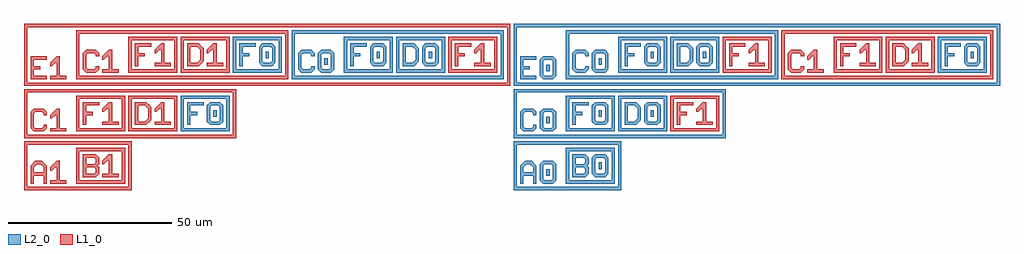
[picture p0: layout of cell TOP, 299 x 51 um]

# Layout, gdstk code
import gdstk
lib = gdstk.Library(unit=1e-6, precision=1e-09)
def R(c, l, rs):  # rectangles x0, y0, x1, y1
    for r in rs: c.add(gdstk.rectangle(r[:2], r[2:], *l))
def P(c, l, *ps):  # polygons
    for p in ps: c.add(gdstk.Polygon(p, *l))
L1_0 = (1, 0)
L2_0 = (2, 0)

text_45 = lib.new_cell('TEXT$45')
P(text_45, L1_0, [(0,0),(0,5.5),(1.5,7),(3.5,7),(4.5,6),(2,6),(1,5),(1,3.5),(4,3.5),(4,5),(3,6),(4.5,6),(5,5.5),(5,0),(4,0),(4,2.5),(1,2.5),(1,0)],
  [(6,0),(6,1),(8,1),(8,5),(7.5,5),(6.5,4),(6,4),(6,5),(8,7),(9,7),(9,1),(11,1),(11,0)])

text_25 = lib.new_cell('TEXT$25')
P(text_25, L1_0, [(0,0),(0,7),(4,7),(5,6),(1,6),(1,4),(3.5,4),(4,4.5),(4,5.5),(3.5,6),(5,6),(5,4),(4.5,3.5),(5,3),(1,3),(1,1),(3.5,1),(4,1.5),(4,2.5),(3.5,3),(5,3),(5,1),(4,0)],
  [(6,0),(6,1),(8,1),(8,5),(7.5,5),(6.5,4),(6,4),(6,5),(8,7),(9,7),(9,1),(11,1),(11,0)])

c_b1 = lib.new_cell('B1')
c_b1.add(gdstk.FlexPath([(0.5,0.5),(0.5,10.5),(14.5,10.5),(14.5,0.5),(0.5,0.5)], 1, ends="extended", simple_path=True, layer=1, datatype=0))  # L1_0
c_b1.add(gdstk.Reference(text_25, (2,2)))

c_a1 = lib.new_cell('A1')
c_a1.add(gdstk.FlexPath([(0.5,0.5),(0.5,14.5),(32.5,14.5),(32.5,0.5),(0.5,0.5)], 1, ends="extended", simple_path=True, layer=1, datatype=0))  # L1_0
c_a1.add(gdstk.Reference(text_45, (2,2)))
c_a1.add(gdstk.Reference(c_b1, (16,2)))

text_47 = lib.new_cell('TEXT$47')
P(text_47, L1_0, [(1,0),(0,1),(0,6),(1,7),(4,7),(5,6),(5,5),(4,5),(4,5.5),(3.5,6),(1.5,6),(1,5.5),(1,1.5),(1.5,1),(3.5,1),(4,1.5),(4,2),(5,2),(5,1),(4,0)],
  [(6,0),(6,1),(8,1),(8,5),(7.5,5),(6.5,4),(6,4),(6,5),(8,7),(9,7),(9,1),(11,1),(11,0)])

text_48 = lib.new_cell('TEXT$48')
P(text_48, L1_0, [(0,0),(0,7),(5,7),(5,6),(1,6),(1,4),(3,4),(3,3),(1,3),(1,0)],
  [(6,0),(6,1),(8,1),(8,5),(7.5,5),(6.5,4),(6,4),(6,5),(8,7),(9,7),(9,1),(11,1),(11,0)])

f1_5 = lib.new_cell('F1$5')
f1_5.add(gdstk.FlexPath([(0.5,0.5),(0.5,10.5),(14.5,10.5),(14.5,0.5),(0.5,0.5)], 1, ends="extended", simple_path=True, layer=1, datatype=0))  # L1_0
f1_5.add(gdstk.Reference(text_48, (2,2)))

text_52 = lib.new_cell('TEXT$52')
P(text_52, L1_0, [(0,0),(0,7),(3.5,7),(4.5,6),(1,6),(1,1),(3,1),(4,2),(4,5),(3,6),(4.5,6),(5,5.5),(5,1.5),(3.5,0)],
  [(6,0),(6,1),(8,1),(8,5),(7.5,5),(6.5,4),(6,4),(6,5),(8,7),(9,7),(9,1),(11,1),(11,0)])

d1_2 = lib.new_cell('D1$2')
d1_2.add(gdstk.FlexPath([(0.5,0.5),(0.5,10.5),(14.5,10.5),(14.5,0.5),(0.5,0.5)], 1, ends="extended", simple_path=True, layer=1, datatype=0))  # L1_0
d1_2.add(gdstk.Reference(text_52, (2,2)))

text = lib.new_cell('TEXT')
R(text, L2_0, [(8,2.5,9,4.5)])
P(text, L2_0, [(0,0),(0,7),(5,7),(5,6),(1,6),(1,4),(3,4),(3,3),(1,3),(1,0)],
  [(7,0),(6,1),(6,6),(7,7),(10,7),(11,6),(7.5,6),(7,5.5),(7,1.5),(7.5,1),(9.5,1),(10,1.5),(10,5.5),(9.5,6),(11,6),(11,1),(10,0)])

f0_3 = lib.new_cell('F0$3')
f0_3.add(gdstk.FlexPath([(0.5,0.5),(0.5,10.5),(14.5,10.5),(14.5,0.5),(0.5,0.5)], 1, ends="extended", simple_path=True, layer=2, datatype=0))  # L2_0
f0_3.add(gdstk.Reference(text, (2,2)))

c1_1_1 = lib.new_cell('C1$1$1')
c1_1_1.add(gdstk.FlexPath([(0.5,0.5),(0.5,14.5),(64.5,14.5),(64.5,0.5),(0.5,0.5)], 1, ends="extended", simple_path=True, layer=1, datatype=0))  # L1_0
c1_1_1.add(gdstk.Reference(text_47, (2,2)))
c1_1_1.add(gdstk.Reference(f1_5, (16,2)))
c1_1_1.add(gdstk.Reference(d1_2, (32,2)))
c1_1_1.add(gdstk.Reference(f0_3, (48,2)))

text_46 = lib.new_cell('TEXT$46')
P(text_46, L1_0, [(0,0),(0,7),(5,7),(5,6),(1,6),(1,4),(3,4),(3,3),(1,3),(1,1),(5,1),(5,0)],
  [(6,0),(6,1),(8,1),(8,5),(7.5,5),(6.5,4),(6,4),(6,5),(8,7),(9,7),(9,1),(11,1),(11,0)])

c_f0 = lib.new_cell('F0')
c_f0.add(gdstk.FlexPath([(0.5,0.5),(0.5,10.5),(14.5,10.5),(14.5,0.5),(0.5,0.5)], 1, ends="extended", simple_path=True, layer=2, datatype=0))  # L2_0
c_f0.add(gdstk.Reference(text, (2,2)))

c1_1 = lib.new_cell('C1$1')
c1_1.add(gdstk.FlexPath([(0.5,0.5),(0.5,14.5),(64.5,14.5),(64.5,0.5),(0.5,0.5)], 1, ends="extended", simple_path=True, layer=1, datatype=0))  # L1_0
c1_1.add(gdstk.Reference(text_47, (2,2)))
c1_1.add(gdstk.Reference(f1_5, (16,2)))
c1_1.add(gdstk.Reference(d1_2, (32,2)))
c1_1.add(gdstk.Reference(c_f0, (48,2)))

text_1 = lib.new_cell('TEXT$1')
R(text_1, L2_0, [(8,2.5,9,4.5)])
P(text_1, L2_0, [(1,0),(0,1),(0,6),(1,7),(4,7),(5,6),(5,5),(4,5),(4,5.5),(3.5,6),(1.5,6),(1,5.5),(1,1.5),(1.5,1),(3.5,1),(4,1.5),(4,2),(5,2),(5,1),(4,0)],
  [(7,0),(6,1),(6,6),(7,7),(10,7),(11,6),(7.5,6),(7,5.5),(7,1.5),(7.5,1),(9.5,1),(10,1.5),(10,5.5),(9.5,6),(11,6),(11,1),(10,0)])

f0_6 = lib.new_cell('F0$6')
f0_6.add(gdstk.FlexPath([(0.5,0.5),(0.5,10.5),(14.5,10.5),(14.5,0.5),(0.5,0.5)], 1, ends="extended", simple_path=True, layer=2, datatype=0))  # L2_0
f0_6.add(gdstk.Reference(text, (2,2)))

text_2 = lib.new_cell('TEXT$2')
R(text_2, L2_0, [(8,2.5,9,4.5)])
P(text_2, L2_0, [(0,0),(0,7),(3.5,7),(4.5,6),(1,6),(1,1),(3,1),(4,2),(4,5),(3,6),(4.5,6),(5,5.5),(5,1.5),(3.5,0)],
  [(7,0),(6,1),(6,6),(7,7),(10,7),(11,6),(7.5,6),(7,5.5),(7,1.5),(7.5,1),(9.5,1),(10,1.5),(10,5.5),(9.5,6),(11,6),(11,1),(10,0)])

d0_4 = lib.new_cell('D0$4')
d0_4.add(gdstk.FlexPath([(0.5,0.5),(0.5,10.5),(14.5,10.5),(14.5,0.5),(0.5,0.5)], 1, ends="extended", simple_path=True, layer=2, datatype=0))  # L2_0
d0_4.add(gdstk.Reference(text_2, (2,2)))

text_4 = lib.new_cell('TEXT$4')
P(text_4, L1_0, [(0,0),(0,7),(5,7),(5,6),(1,6),(1,4),(3,4),(3,3),(1,3),(1,0)],
  [(6,0),(6,1),(8,1),(8,5),(7.5,5),(6.5,4),(6,4),(6,5),(8,7),(9,7),(9,1),(11,1),(11,0)])

c_f1 = lib.new_cell('F1')
c_f1.add(gdstk.FlexPath([(0.5,0.5),(0.5,10.5),(14.5,10.5),(14.5,0.5),(0.5,0.5)], 1, ends="extended", simple_path=True, layer=1, datatype=0))  # L1_0
c_f1.add(gdstk.Reference(text_4, (2,2)))

c_c0 = lib.new_cell('C0')
c_c0.add(gdstk.FlexPath([(0.5,0.5),(0.5,14.5),(64.5,14.5),(64.5,0.5),(0.5,0.5)], 1, ends="extended", simple_path=True, layer=2, datatype=0))  # L2_0
c_c0.add(gdstk.Reference(text_1, (2,2)))
c_c0.add(gdstk.Reference(f0_6, (16,2)))
c_c0.add(gdstk.Reference(d0_4, (32,2)))
c_c0.add(gdstk.Reference(c_f1, (48,2)))

c_e1 = lib.new_cell('E1')
c_e1.add(gdstk.FlexPath([(0.5,0.5),(0.5,18.5),(148.5,18.5),(148.5,0.5),(0.5,0.5)], 1, ends="extended", simple_path=True, layer=1, datatype=0))  # L1_0
c_e1.add(gdstk.Reference(text_46, (2,2)))
c_e1.add(gdstk.Reference(c1_1, (16,2)))
c_e1.add(gdstk.Reference(c_c0, (82,2)))

text_6 = lib.new_cell('TEXT$6')
R(text_6, L2_0, [(8,2.5,9,4.5)])
P(text_6, L2_0, [(0,0),(0,5.5),(1.5,7),(3.5,7),(4.5,6),(2,6),(1,5),(1,3.5),(4,3.5),(4,5),(3,6),(4.5,6),(5,5.5),(5,0),(4,0),(4,2.5),(1,2.5),(1,0)],
  [(7,0),(6,1),(6,6),(7,7),(10,7),(11,6),(7.5,6),(7,5.5),(7,1.5),(7.5,1),(9.5,1),(10,1.5),(10,5.5),(9.5,6),(11,6),(11,1),(10,0)])

text_5 = lib.new_cell('TEXT$5')
R(text_5, L2_0, [(8,2.5,9,4.5)])
P(text_5, L2_0, [(0,0),(0,7),(4,7),(5,6),(1,6),(1,4),(3.5,4),(4,4.5),(4,5.5),(3.5,6),(5,6),(5,4),(4.5,3.5),(5,3),(1,3),(1,1),(3.5,1),(4,1.5),(4,2.5),(3.5,3),(5,3),(5,1),(4,0)],
  [(7,0),(6,1),(6,6),(7,7),(10,7),(11,6),(7.5,6),(7,5.5),(7,1.5),(7.5,1),(9.5,1),(10,1.5),(10,5.5),(9.5,6),(11,6),(11,1),(10,0)])

c_b0 = lib.new_cell('B0')
c_b0.add(gdstk.FlexPath([(0.5,0.5),(0.5,10.5),(14.5,10.5),(14.5,0.5),(0.5,0.5)], 1, ends="extended", simple_path=True, layer=2, datatype=0))  # L2_0
c_b0.add(gdstk.Reference(text_5, (2,2)))

c_a0 = lib.new_cell('A0')
c_a0.add(gdstk.FlexPath([(0.5,0.5),(0.5,14.5),(32.5,14.5),(32.5,0.5),(0.5,0.5)], 1, ends="extended", simple_path=True, layer=2, datatype=0))  # L2_0
c_a0.add(gdstk.Reference(text_6, (2,2)))
c_a0.add(gdstk.Reference(c_b0, (16,2)))

f0_7 = lib.new_cell('F0$7')
f0_7.add(gdstk.FlexPath([(0.5,0.5),(0.5,10.5),(14.5,10.5),(14.5,0.5),(0.5,0.5)], 1, ends="extended", simple_path=True, layer=2, datatype=0))  # L2_0
f0_7.add(gdstk.Reference(text, (2,2)))

d0_5 = lib.new_cell('D0$5')
d0_5.add(gdstk.FlexPath([(0.5,0.5),(0.5,10.5),(14.5,10.5),(14.5,0.5),(0.5,0.5)], 1, ends="extended", simple_path=True, layer=2, datatype=0))  # L2_0
d0_5.add(gdstk.Reference(text_2, (2,2)))

c0_1_1 = lib.new_cell('C0$1$1')
c0_1_1.add(gdstk.FlexPath([(0.5,0.5),(0.5,14.5),(64.5,14.5),(64.5,0.5),(0.5,0.5)], 1, ends="extended", simple_path=True, layer=2, datatype=0))  # L2_0
c0_1_1.add(gdstk.Reference(text_1, (2,2)))
c0_1_1.add(gdstk.Reference(f0_7, (16,2)))
c0_1_1.add(gdstk.Reference(d0_5, (32,2)))
c0_1_1.add(gdstk.Reference(c_f1, (48,2)))

text_7 = lib.new_cell('TEXT$7')
R(text_7, L2_0, [(8,2.5,9,4.5)])
P(text_7, L2_0, [(0,0),(0,7),(5,7),(5,6),(1,6),(1,4),(3,4),(3,3),(1,3),(1,1),(5,1),(5,0)],
  [(7,0),(6,1),(6,6),(7,7),(10,7),(11,6),(7.5,6),(7,5.5),(7,1.5),(7.5,1),(9.5,1),(10,1.5),(10,5.5),(9.5,6),(11,6),(11,1),(10,0)])

f0_9 = lib.new_cell('F0$9')
f0_9.add(gdstk.FlexPath([(0.5,0.5),(0.5,10.5),(14.5,10.5),(14.5,0.5),(0.5,0.5)], 1, ends="extended", simple_path=True, layer=2, datatype=0))  # L2_0
f0_9.add(gdstk.Reference(text, (2,2)))

d0_2 = lib.new_cell('D0$2')
d0_2.add(gdstk.FlexPath([(0.5,0.5),(0.5,10.5),(14.5,10.5),(14.5,0.5),(0.5,0.5)], 1, ends="extended", simple_path=True, layer=2, datatype=0))  # L2_0
d0_2.add(gdstk.Reference(text_2, (2,2)))

c0_2 = lib.new_cell('C0$2')
c0_2.add(gdstk.FlexPath([(0.5,0.5),(0.5,14.5),(64.5,14.5),(64.5,0.5),(0.5,0.5)], 1, ends="extended", simple_path=True, layer=2, datatype=0))  # L2_0
c0_2.add(gdstk.Reference(text_1, (2,2)))
c0_2.add(gdstk.Reference(f0_9, (16,2)))
c0_2.add(gdstk.Reference(d0_2, (32,2)))
c0_2.add(gdstk.Reference(c_f1, (48,2)))

c_e0 = lib.new_cell('E0')
c_e0.add(gdstk.FlexPath([(0.5,0.5),(0.5,18.5),(148.5,18.5),(148.5,0.5),(0.5,0.5)], 1, ends="extended", simple_path=True, layer=2, datatype=0))  # L2_0
c_e0.add(gdstk.Reference(text_7, (2,2)))
c_e0.add(gdstk.Reference(c1_1, (82,2)))
c_e0.add(gdstk.Reference(c0_2, (16,2)))

top = lib.new_cell('TOP')
top.add(gdstk.Reference(c_a1, (2,2)))
top.add(gdstk.Reference(c1_1_1, (2,18)))
top.add(gdstk.Reference(c_e1, (2,34)))
top.add(gdstk.Reference(c_a0, (152,2)))
top.add(gdstk.Reference(c0_1_1, (152,18)))
top.add(gdstk.Reference(c_e0, (152,34)))

lib.write_gds('TOP.gds')
